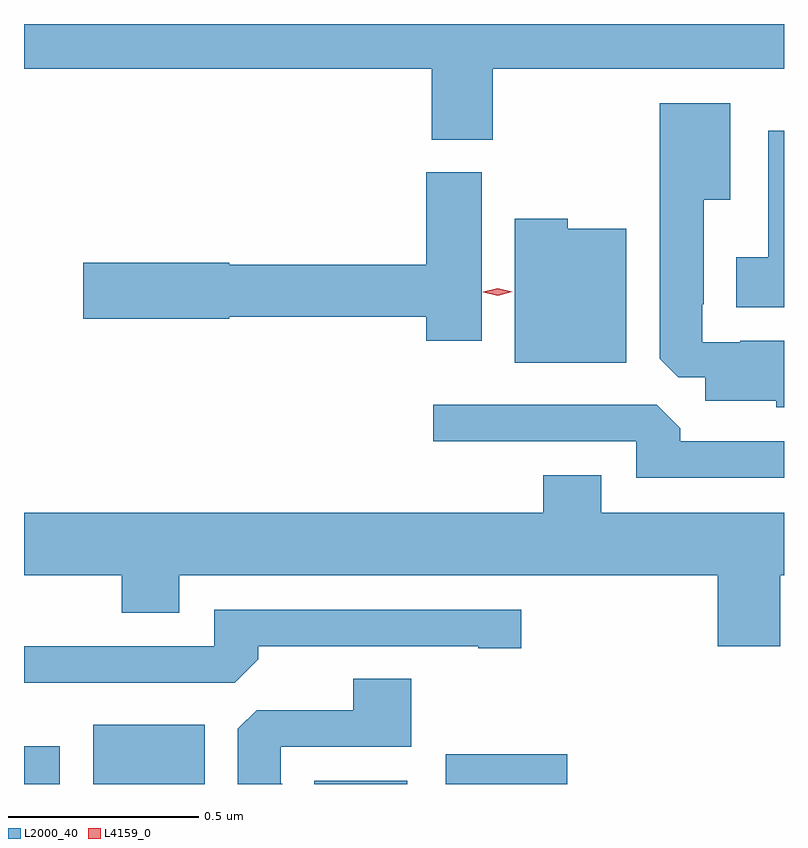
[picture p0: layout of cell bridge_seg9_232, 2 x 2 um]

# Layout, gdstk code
import gdstk
lib = gdstk.Library(unit=1e-6, precision=1e-09)
def R(c, l, rs):  # rectangles x0, y0, x1, y1
    for r in rs: c.add(gdstk.rectangle(r[:2], r[2:], *l))
def P(c, l, *ps):  # polygons
    for p in ps: c.add(gdstk.Polygon(p, *l))
L2000_40 = (2000, 40)
L4159_0 = (4159, 0)

bridge_seg9_232 = lib.new_cell('bridge_seg9_232')
R(bridge_seg9_232, L2000_40, [(235.11,1207.858,235.204,1207.957), (235.292,1207.858,235.585,1208.014), (235.874,1207.858,236.119,1207.867), (236.22,1207.858,236.54,1207.936)])
P(bridge_seg9_232, L2000_40, [(236.343,1209.74),(237.11,1209.74),(237.11,1209.858),(235.11,1209.858),(235.11,1209.74),(236.183,1209.74),(236.183,1209.553),(236.343,1209.553)],
  [(237.11,1209.025),(236.995,1209.025),(236.995,1209.021),(236.895,1209.021),(236.895,1209.121),(236.899,1209.121),(236.899,1209.395),(236.968,1209.395),(236.968,1209.649),(236.783,1209.649),(236.783,1208.977),(236.832,1208.928),(236.903,1208.928),(236.903,1208.867),(237.09,1208.867),(237.09,1208.849),(237.11,1208.849)],
  [(237.11,1209.577),(237.068,1209.577),(237.068,1209.244),(236.984,1209.244),(236.984,1209.113),(237.11,1209.113)],
  [(236.314,1209.468),(236.168,1209.468),(236.168,1209.224),(235.65,1209.224),(235.65,1209.23),(235.266,1209.23),(235.266,1209.083),(235.65,1209.083),(235.65,1209.088),(236.168,1209.088),(236.168,1209.024),(236.314,1209.024)],
  [(236.695,1209.319),(236.541,1209.319),(236.541,1209.346),(236.402,1209.346),(236.402,1208.966),(236.695,1208.966)],
  [(237.11,1208.76),(236.837,1208.76),(236.837,1208.794),(236.775,1208.856),(236.187,1208.856),(236.187,1208.76),(236.721,1208.76),(236.721,1208.664),(237.11,1208.664)],
  [(237.1,1208.408),(237.11,1208.408),(237.11,1208.572),(236.629,1208.572),(236.629,1208.671),(236.477,1208.671),(236.477,1208.572),(235.11,1208.572),(235.11,1208.408),(235.367,1208.408),(235.367,1208.309),(235.519,1208.309),(235.519,1208.408),(236.936,1208.408),(236.936,1208.22),(237.1,1208.22)],
  [(235.727,1208.186),(235.727,1208.22),(236.306,1208.22),(236.306,1208.215),(236.419,1208.215),(236.419,1208.316),(235.611,1208.316),(235.611,1208.22),(235.11,1208.22),(235.11,1208.124),(235.665,1208.124)],
  [(235.789,1207.859),(235.785,1207.859),(235.785,1207.956),(236.129,1207.956),(236.129,1208.135),(235.976,1208.135),(235.976,1208.052),(235.722,1208.052),(235.673,1208.003),(235.673,1207.858),(235.789,1207.858)])
P(bridge_seg9_232, L4159_0, [(236.357,1209.143),(236.319,1209.152),(236.319,1209.152),(236.319,1209.153),(236.357,1209.163),(236.395,1209.154),(236.395,1209.154),(236.395,1209.153)])

lib.write_gds('bridge_seg9_232.gds')
